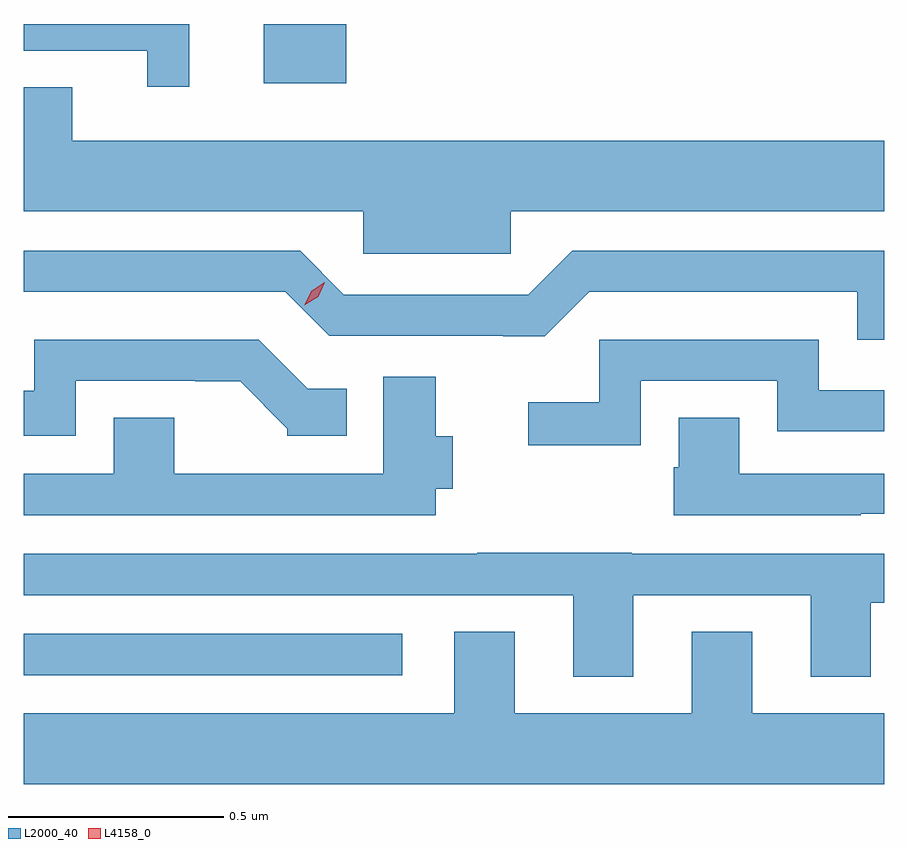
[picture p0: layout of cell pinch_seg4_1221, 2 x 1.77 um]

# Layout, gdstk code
import gdstk
lib = gdstk.Library(unit=1e-6, precision=1e-09)
def R(c, l, rs):  # rectangles x0, y0, x1, y1
    for r in rs: c.add(gdstk.rectangle(r[:2], r[2:], *l))
def P(c, l, *ps):  # polygons
    for p in ps: c.add(gdstk.Polygon(p, *l))
L2000_40 = (2000, 40)
L4158_0 = (4158, 0)

pinch_seg4_1221 = lib.new_cell('pinch_seg4_1221')
R(pinch_seg4_1221, L2000_40, [(553.47,765.105,554.35,765.201), (554.028,766.481,554.219,766.619)])
P(pinch_seg4_1221, L2000_40, [(553.855,766.619),(553.47,766.619),(553.47,766.557),(553.757,766.557),(553.757,766.473),(553.855,766.473)],
  [(554.602,766.184),(555.47,766.184),(555.47,766.348),(553.582,766.348),(553.582,766.472),(553.47,766.472),(553.47,766.184),(554.259,766.184),(554.259,766.085),(554.602,766.085)],
  [(555.47,766.092),(554.745,766.092),(554.643,765.99),(554.214,765.99),(554.112,766.092),(553.47,766.092),(553.47,765.996),(554.078,765.996),(554.18,765.894),(554.585,765.894),(554.585,765.893),(554.681,765.893),(554.784,765.996),(555.408,765.996),(555.408,765.885),(555.47,765.885)],
  [(553.59,765.789),(553.868,765.789),(553.868,765.788),(553.973,765.788),(554.082,765.678),(554.082,765.662),(554.221,765.662),(554.221,765.771),(554.13,765.771),(554.016,765.885),(553.494,765.885),(553.494,765.766),(553.47,765.766),(553.47,765.662),(553.59,765.662)],
  [(554.904,765.789),(555.222,765.789),(555.222,765.672),(555.47,765.672),(555.47,765.768),(555.318,765.768),(555.318,765.885),(554.808,765.885),(554.808,765.739),(554.643,765.739),(554.643,765.64),(554.904,765.64)],
  [(554.428,765.539),(554.467,765.539),(554.467,765.661),(554.428,765.661),(554.428,765.799),(554.306,765.799),(554.306,765.573),(553.819,765.573),(553.819,765.704),(553.679,765.704),(553.679,765.573),(553.47,765.573),(553.47,765.477),(554.428,765.477)],
  [(555.416,765.48),(555.47,765.48),(555.47,765.573),(555.133,765.573),(555.133,765.704),(554.993,765.704),(554.993,765.588),(554.981,765.588),(554.981,765.477),(555.416,765.477)],
  [(554.887,765.291),(555.299,765.291),(555.299,765.101),(555.439,765.101),(555.439,765.273),(555.47,765.273),(555.47,765.387),(554.883,765.387),(554.883,765.39),(554.524,765.39),(554.524,765.387),(553.47,765.387),(553.47,765.291),(554.747,765.291),(554.747,765.101),(554.887,765.101)],
  [(555.47,765.016),(555.163,765.016),(555.163,765.206),(555.023,765.206),(555.023,765.016),(554.611,765.016),(554.611,765.206),(554.471,765.206),(554.471,765.016),(553.47,765.016),(553.47,764.852),(555.47,764.852)])
P(pinch_seg4_1221, L4158_0, [(554.122,765.965),(554.122,765.965),(554.139,765.999),(554.17,766.019),(554.17,766.019),(554.17,766.018),(554.154,765.985),(554.122,765.965)])

lib.write_gds('pinch_seg4_1221.gds')
